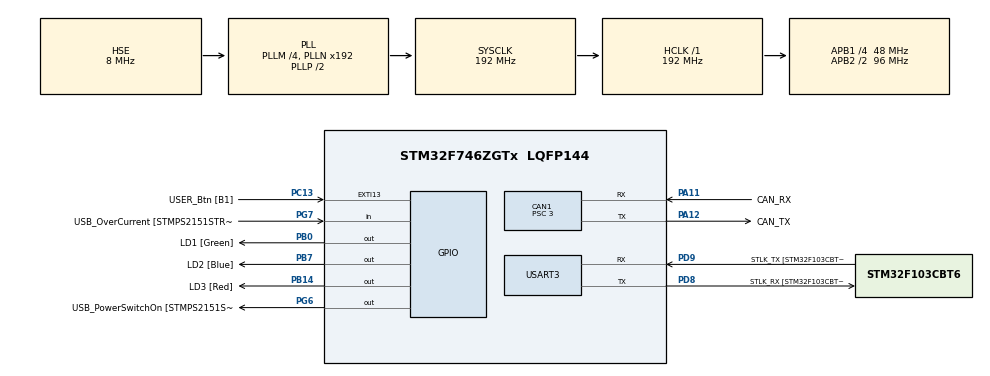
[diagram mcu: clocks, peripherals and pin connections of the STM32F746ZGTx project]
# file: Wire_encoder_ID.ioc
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CAN1.ABOM=ENABLE
CAN1.BS1=CAN_BS1_13TQ
CAN1.BS2=CAN_BS2_2TQ
CAN1.CalculateBaudRate=1000000
CAN1.CalculateTimeBit=1000
CAN1.CalculateTimeQuantum=62.5
CAN1.Mode=CAN_MODE_NORMAL
CAN1.NART=ENABLE
CAN1.Prescaler=3
Mcu.Family=STM32F7
Mcu.Name=STM32F746ZGTx
Mcu.Package=LQFP144
NVIC.CAN1_RX0_IRQn=true\:0\:0\:false\:false\:true\:true\:true\:true
NVIC.PriorityGroup=NVIC_PRIORITYGROUP_4
PA1.GPIO_Label=RMII_REF_CLK [LAN8742A-CZ-TR_REFCLK0]
PA1.Signal=ETH_REF_CLK
PA10.GPIO_Label=USB_ID
PA10.Signal=USB_OTG_FS_ID
PA11.GPIO_Label=CAN_RX
PA11.Mode=CAN_Activate
PA11.Signal=CAN1_RX
PA12.GPIO_Label=CAN_TX
PA12.Mode=CAN_Activate
PA12.Signal=CAN1_TX
PA13.GPIO_Label=TMS
PA13.Mode=Serial_Wire
PA13.Signal=SYS_JTMS-SWDIO
PA14.GPIO_Label=TCK
PA14.Mode=Serial_Wire
PA14.Signal=SYS_JTCK-SWCLK
PA2.GPIO_Label=RMII_MDIO [LAN8742A-CZ-TR_MDIO]
PA2.Signal=ETH_MDIO
PA7.GPIO_Label=RMII_CRS_DV [LAN8742A-CZ-TR_CRS_DV]
PA7.Signal=ETH_CRS_DV
PA8.GPIO_Label=USB_SOF [TP1]
PA8.Signal=USB_OTG_FS_SOF
PA9.GPIO_Label=USB_VBUS
PA9.Signal=USB_OTG_FS_VBUS
PB0.GPIO_Label=LD1 [Green]
PB0.Signal=GPIO_Output
PB13.GPIO_Label=RMII_TXD1 [LAN8742A-CZ-TR_TXD1]
PB13.Signal=ETH_TXD1
PB14.GPIO_Label=LD3 [Red]
PB14.Signal=GPIO_Output
PB3.GPIO_Label=SW0
PB3.Signal=SYS_JTDO-SWO
PB7.GPIO_Label=LD2 [Blue]
PB7.Signal=GPIO_Output
PB8.Signal=I2C1_SCL
PB9.Signal=I2C1_SDA
PC1.GPIO_Label=RMII_MDC [LAN8742A-CZ-TR_MDC]
PC1.Signal=ETH_MDC
PC13.GPIO_Label=USER_Btn [B1]
PC13.Signal=GPXTI13
PC14/OSC32_IN.Mode=LSE-External-Oscillator
PC14/OSC32_IN.Signal=RCC_OSC32_IN
PC15/OSC32_OUT.Mode=LSE-External-Oscillator
PC15/OSC32_OUT.Signal=RCC_OSC32_OUT
PC4.GPIO_Label=RMII_RXD0 [LAN8742A-CZ-TR_RXD0]
PC4.Signal=ETH_RXD0
PC5.GPIO_Label=RMII_RXD1 [LAN8742A-CZ-TR_RXD1]
PC5.Signal=ETH_RXD1
PD8.GPIO_Label=STLK_RX [STM32F103CBT6_PA3]
PD8.GPIO_PuPd=GPIO_PULLUP
PD8.Mode=Asynchronous
PD8.Signal=USART3_TX
PD9.GPIO_Label=STLK_TX [STM32F103CBT6_PA2]
PD9.GPIO_PuPd=GPIO_PULLUP
PD9.Mode=Asynchronous
PD9.Signal=USART3_RX
PG11.GPIO_Label=RMII_TX_EN [LAN8742A-CZ-TR_TXEN]
PG11.Signal=ETH_TX_EN
PG13.GPIO_Label=RMII_TXD0 [LAN8742A-CZ-TR_TXD0]
PG13.Signal=ETH_TXD0
PG6.GPIO_Label=USB_PowerSwitchOn [STMPS2151STR_EN]
PG6.Signal=GPIO_Output
PG7.GPIO_Label=USB_OverCurrent [STMPS2151STR_FAULT]
PG7.Signal=GPIO_Input
PH0/OSC_IN.GPIO_Label=MCO [STM32F103CBT6_PA8]
PH0/OSC_IN.Mode=HSE-External-Oscillator
PH0/OSC_IN.Signal=RCC_OSC_IN
PH1/OSC_OUT.Mode=HSE-External-Oscillator
PH1/OSC_OUT.Signal=RCC_OSC_OUT
ProjectManager.HeapSize=0x200
ProjectManager.StackSize=0x400
ProjectManager.TargetToolchain=STM32CubeIDE
RCC.48MHZClocksFreq_Value=24000000
RCC.AHBFreq_Value=192000000
RCC.APB1CLKDivider=RCC_HCLK_DIV4
RCC.APB1Freq_Value=48000000
RCC.APB1TimFreq_Value=96000000
RCC.APB2CLKDivider=RCC_HCLK_DIV2
RCC.APB2Freq_Value=96000000
RCC.APB2TimFreq_Value=192000000
RCC.CortexFreq_Value=192000000
RCC.HCLKFreq_Value=192000000
RCC.HSE_VALUE=8000000
RCC.HSI_VALUE=16000000
RCC.PLLM=4
RCC.PLLMUL=RCC_PLL_MUL9
RCC.PLLQ=3
RCC.PLLSourceVirtual=RCC_PLLSOURCE_HSE
RCC.PRESCALERUSB=RCC_USBCLKSOURCE_PLL_DIV1_5
RCC.SYSCLKFreq_VALUE=192000000
RCC.SYSCLKSource=RCC_SYSCLKSOURCE_PLLCLK
RCC.SYSCLKSourceVirtual=RCC_SYSCLKSOURCE_PLLCLK
RCC.USBFreq_Value=128000000
RCC.VCOOutputFreq_Value=384000000
USART3.VirtualMode-Asynchronous=VM_ASYNC
board=NUCLEO-F746ZG

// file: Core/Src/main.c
/* USER CODE BEGIN Header */
/**
  ******************************************************************************
  * @file           : main.c
  * @brief          : Briter encoder CAN ID & Baud rate config tool
  *                   WEncoder_CAN lib ашиглан encoder-ийн ID болон
  *                   baud rate-ийг нэг удаа солих зориулалттай.
  ******************************************************************************
  * @attention
  *
  * Copyright (c) 2026 STMicroelectronics.
  * All rights reserved.
  *
  ******************************************************************************
  */
/* USER CODE END Header */
#include "main.h"

/* USER CODE BEGIN Includes */
#include <stdio.h>
#include "WEncoder_CAN.h"
/* USER CODE END Includes */

/* USER CODE BEGIN PD */

/* Encoder-ийн одоогийн тохиргоо (шатаагдсан) */
#define ENCODER_CURRENT_ID        0x01U
#define ENCODER_TARGET_ID         0x02U

#define ENCODER_CURRENT_BAUD_CODE WENC_BAUD_1M
#define ENCODER_TARGET_BAUD_CODE  WENC_BAUD_1M

/* Timeouts */
#define PROBE_TIMEOUT_MS          250U
#define ACK_TIMEOUT_MS            150U
#define COMMAND_RETRY_COUNT       5U

#define UART_LOG_ENABLE           1U

/* USER CODE END PD */

CAN_HandleTypeDef hcan1;
UART_HandleTypeDef huart3;

/* USER CODE BEGIN PV */
/* Config tool-ийн дотоод төлөв */
static volatile uint8_t s_activeId    = ENCODER_CURRENT_ID;
static volatile uint8_t s_readSeen    = 0U;
static volatile uint8_t s_cmdAckSeen  = 0U;
static volatile uint8_t s_cmdAckCode  = 0xFFU;
static volatile uint8_t s_cmdAckType  = 0x00U;
static uint32_t         s_reqSentAt   = 0U;

/* Briter command codes */
#define CMD_READ_VALUE  0x01U
#define CMD_SET_ID      0x02U
#define CMD_SET_BAUD    0x03U
/* USER CODE END PV */

void SystemClock_Config(void);
static void MX_GPIO_Init(void);
static void MX_USART3_UART_Init(void);
static void MX_CAN1_Init(void);
/* USER CODE BEGIN PFP */
static HAL_StatusTypeDef CAN_ReInitForBaudCode(uint8_t baudCode);
static HAL_StatusTypeDef CAN_Send4(uint8_t stdId,
                                    uint8_t b0, uint8_t b1,
                                    uint8_t b2, uint8_t b3);
static uint8_t           CAN_ProbeId(uint8_t encoderId, uint32_t timeoutMs);
static HAL_StatusTypeDef CAN_WaitAck(uint8_t expectedCmd, uint32_t timeoutMs);
static HAL_StatusTypeDef CAN_EnsureTargetId(void);
static HAL_StatusTypeDef CAN_EnsureTargetBaud(void);
/* USER CODE END PFP */

/* USER CODE BEGIN 0 */

int __io_putchar(int ch)
{
#if UART_LOG_ENABLE
    uint8_t c = (uint8_t)ch;
    (void)HAL_UART_Transmit(&huart3, &c, 1U, 2U);
#else
    (void)ch;
#endif
    return ch;
}

/* ── ISR ──────────────────────────────────────────────────────────────────── */
void HAL_CAN_RxFifo0MsgPendingCallback(CAN_HandleTypeDef *hcan)
{
    CAN_RxHeaderTypeDef hdr;
    uint8_t             d[8];

    if (hcan->Instance != CAN1) return;
    if (HAL_CAN_GetRxMessage(hcan, CAN_RX_FIFO0, &hdr, d) != HAL_OK) return;

#if UART_LOG_ENABLE
    /* DEBUG: ирж буй бүх frame raw хэлбэрээр print — шалгаж дуусаад устга */
    printf("RX ide=%u std=0x%03X dlc=%u [%02X %02X %02X %02X %02X %02X %02X %02X]\r\n",
           (unsigned int)hdr.IDE,
           (unsigned int)hdr.StdId,
           (unsigned int)hdr.DLC,
           d[0],d[1],d[2],d[3],d[4],d[5],d[6],d[7]);
#endif

    /* EXT frame бол хаях (Briter STD frame ашигладаг) */
    if (hdr.IDE != CAN_ID_STD) return;

    /* SET_ID / SET_BAUD ACK: [0x04][newId/sameId][cmd][code] */
    if ((hdr.DLC >= 4U) &&
        (d[0] == 0x04U) &&
        ((d[2] == CMD_SET_ID) || (d[2] == CMD_SET_BAUD))) {
        s_cmdAckSeen = 1U;
        s_cmdAckType = d[2];
        s_cmdAckCode = d[3];
#if UART_LOG_ENABLE
        printf("RX ACK cmd=0x%02X code=%u id=0x%02X\r\n",
               (unsigned int)s_cmdAckType,
               (unsigned int)s_cmdAckCode,
               (unsigned int)hdr.StdId);
#endif
        return;
    }

    /* Echo шүүх: [0x04][id][0x01][0x00] DLC=4 */
    if ((hdr.DLC == 4U) &&
        (d[0] == 0x04U) && (d[2] == CMD_READ_VALUE) && (d[3] == 0x00U)) {
        return;
    }

    /* Read response: DLC=7, [0x07][id][0x01][D0..D3] */
    if ((hdr.StdId == (uint32_t)s_activeId) &&
        (hdr.DLC   == 7U)                   &&
        (d[0]      == 0x07U)                &&
        (d[1]      == s_activeId)           &&
        (d[2]      == CMD_READ_VALUE)) {
        s_readSeen = 1U;
    }
}

void HAL_CAN_ErrorCallback(CAN_HandleTypeDef *hcan)
{
    (void)hcan;
}

/* ── CAN helpers ──────────────────────────────────────────────────────────── */

static HAL_StatusTypeDef CAN_ReInitForBaudCode(uint8_t baudCode)
{
    /* Зогсоож, prescaler солиод, дахин init + filter/start хийнэ.
       WEncoder_CAN_FilterStart — zөвхөн filter+notify+start,
       baud-ийг дарж бичдэггүй тул config tool-д тохиромжтой. */
    (void)HAL_CAN_Stop(&hcan1);
    (void)HAL_CAN_DeInit(&hcan1);

    hcan1.Init.SyncJumpWidth = CAN_SJW_1TQ;
    hcan1.Init.TimeSeg1      = CAN_BS1_13TQ;
    hcan1.Init.TimeSeg2      = CAN_BS2_2TQ;

    switch (baudCode) {
        case WENC_BAUD_500K: hcan1.Init.Prescaler = 6;  break;  /* 48M/( 6*16)=500K */
        case WENC_BAUD_1M:   hcan1.Init.Prescaler = 3;  break;  /* 48M/( 3*16)=1M   */
        case WENC_BAUD_250K: hcan1.Init.Prescaler = 12; break;  /* 48M/(12*16)=250K */
        case WENC_BAUD_125K: hcan1.Init.Prescaler = 24; break;  /* 48M/(24*16)=125K */
        case WENC_BAUD_100K: hcan1.Init.Prescaler = 30; break;  /* 48M/(30*16)=100K */
        default: return HAL_ERROR;
    }

    if (HAL_CAN_Init(&hcan1) != HAL_OK) return HAL_ERROR;

    /* FilterStart: prescaler-ийг өөрчлөхгүй, зөвхөн filter+notify+start */
    g_wenc.hcan = &hcan1;
    return WEncoder_CAN_FilterStart();
}

static HAL_StatusTypeDef CAN_Send4(uint8_t stdId,
                                    uint8_t b0, uint8_t b1,
                                    uint8_t b2, uint8_t b3)
{
    CAN_TxHeaderTypeDef tx;
    uint8_t  data[8] = {b0, b1, b2, b3, 0, 0, 0, 0};
    uint32_t mailbox  = 0U;

    if (HAL_CAN_GetTxMailboxesFreeLevel(&hcan1) == 0U) return HAL_BUSY;

    tx.StdId              = stdId;
    tx.IDE                = CAN_ID_STD;
    tx.RTR                = CAN_RTR_DATA;
    tx.DLC                = 4U;
    tx.TransmitGlobalTime = DISABLE;

    return HAL_CAN_AddTxMessage(&hcan1, &tx, data, &mailbox);
}

/* Encoder-ийг read request-ээр probe хийж, хариу ирвэл 1 буцаана */
static uint8_t CAN_ProbeId(uint8_t encoderId, uint32_t timeoutMs)
{
    uint32_t t0 = HAL_GetTick();
    s_activeId = encoderId;
    s_readSeen = 0U;

    while ((HAL_GetTick() - t0) < timeoutMs) {
        if ((HAL_GetTick() - s_reqSentAt) >= 20U) {
#if UART_LOG_ENABLE
            printf("TX READ id=0x%02X\r\n", encoderId);
#endif
            (void)CAN_Send4(encoderId, 0x04U, encoderId, CMD_READ_VALUE, 0x00U);
            s_reqSentAt = HAL_GetTick();
        }
        if (s_readSeen) {
#if UART_LOG_ENABLE
            printf("PROBE OK id=0x%02X\r\n", encoderId);
#endif
            return 1U;
        }
    }
    return 0U;
}

/* ACK ирэх хүртэл хүлээх */
static HAL_StatusTypeDef CAN_WaitAck(uint8_t expectedCmd, uint32_t timeoutMs)
{
    uint32_t t0 = HAL_GetTick();
    s_cmdAckSeen = 0U;
    s_cmdAckCode = 0xFFU;
    s_cmdAckType = 0x00U;

    while ((HAL_GetTick() - t0) < timeoutMs) {
        if (s_cmdAckSeen && (s_cmdAckType == expectedCmd)) return HAL_OK;
    }
    return HAL_TIMEOUT;
}

/* ── Config логик ─────────────────────────────────────────────────────────── */

static HAL_StatusTypeDef CAN_EnsureTargetId(void)
{
    if (ENCODER_CURRENT_ID == ENCODER_TARGET_ID) {
#if UART_LOG_ENABLE
        printf("ID change skipped (same)\r\n");
#endif
        s_activeId = ENCODER_TARGET_ID;
        return HAL_OK;
    }

    if (!CAN_ProbeId(ENCODER_CURRENT_ID, PROBE_TIMEOUT_MS)) {
#if UART_LOG_ENABLE
        printf("CURRENT ID 0x%02X not found\r\n", ENCODER_CURRENT_ID);
#endif
        return HAL_ERROR;
    }

    for (uint8_t i = 0U; i < COMMAND_RETRY_COUNT; i++) {
#if UART_LOG_ENABLE
        printf("TX SET_ID 0x%02X → 0x%02X\r\n",
               ENCODER_CURRENT_ID, ENCODER_TARGET_ID);
#endif
        if (CAN_Send4(ENCODER_CURRENT_ID,
                      0x04U, ENCODER_CURRENT_ID,
                      CMD_SET_ID, ENCODER_TARGET_ID) != HAL_OK) {
            HAL_Delay(10U);
            continue;
        }
        (void)CAN_WaitAck(CMD_SET_ID, ACK_TIMEOUT_MS);
        HAL_Delay(50U);

        if (CAN_ProbeId(ENCODER_TARGET_ID, PROBE_TIMEOUT_MS)) {
            s_activeId = ENCODER_TARGET_ID;
            return HAL_OK;
        }
    }
    return HAL_ERROR;
}

static HAL_StatusTypeDef CAN_EnsureTargetBaud(void)
{
    if (ENCODER_CURRENT_BAUD_CODE == ENCODER_TARGET_BAUD_CODE) {
#if UART_LOG_ENABLE
        printf("BAUD change skipped (same)\r\n");
#endif
        return HAL_OK;
    }

    for (uint8_t i = 0U; i < COMMAND_RETRY_COUNT; i++) {
#if UART_LOG_ENABLE
        printf("TX SET_BAUD → %u\r\n", (unsigned int)ENCODER_TARGET_BAUD_CODE);
#endif
        if (CAN_Send4(s_activeId,
                      0x04U, s_activeId,
                      CMD_SET_BAUD, ENCODER_TARGET_BAUD_CODE) != HAL_OK) {
            HAL_Delay(10U);
            continue;
        }
        (void)CAN_WaitAck(CMD_SET_BAUD, ACK_TIMEOUT_MS);
        HAL_Delay(50U);

        /* Host-ыг шинэ baud руу шилжүүлж probe хийх */
        if (CAN_ReInitForBaudCode(ENCODER_TARGET_BAUD_CODE) != HAL_OK) return HAL_ERROR;
        if (CAN_ProbeId(s_activeId, PROBE_TIMEOUT_MS)) return HAL_OK;

        /* Амжилтгүй — хуучин baud руу буцаж дараагийн оролдлого */
        if (CAN_ReInitForBaudCode(ENCODER_CURRENT_BAUD_CODE) != HAL_OK) return HAL_ERROR;
    }
    return HAL_ERROR;
}

/* USER CODE END 0 */

/* ── main ─────────────────────────────────────────────────────────────────── */
int main(void)
{

	HAL_Init();

  SystemClock_Config();

  MX_GPIO_Init();
  MX_USART3_UART_Init();
  MX_CAN1_Init();

  /* USER CODE BEGIN 2 */
#if UART_LOG_ENABLE
  printf("\r\nCONFIG TOOL BOOT\r\n");
  printf("CURRENT id=0x%02X baud=%u\r\n",
         ENCODER_CURRENT_ID, (unsigned int)ENCODER_CURRENT_BAUD_CODE);
  printf("TARGET  id=0x%02X baud=%u\r\n",
         ENCODER_TARGET_ID,  (unsigned int)ENCODER_TARGET_BAUD_CODE);
#endif

  /* WEncoder_CAN — config tool дотор зөвхөн StartStack-д ашиглана.
     Дотоод g_wenc handle-ийг ISR-тэй хуваалцахад хэрэгтэй. */
  WEncoder_CAN_Init(&hcan1);

  /* Одоогийн baud дээр stack эхлүүлэх */
  if (CAN_ReInitForBaudCode(ENCODER_CURRENT_BAUD_CODE) != HAL_OK) {
      Error_Handler();
  }

  /* ID солих → Baud солих */
  uint8_t ok = (CAN_EnsureTargetId()   == HAL_OK) &&
               (CAN_EnsureTargetBaud() == HAL_OK);

  if (ok) {
      HAL_GPIO_WritePin(LD1_GPIO_Port, LD1_Pin, GPIO_PIN_SET);  /* ногоон */
#if UART_LOG_ENABLE
      printf("CONFIG OK\r\n");
#endif
  } else {
      HAL_GPIO_WritePin(LD3_GPIO_Port, LD3_Pin, GPIO_PIN_SET);  /* улаан */
#if UART_LOG_ENABLE
      printf("CONFIG FAILED\r\n");
#endif
  }
  /* USER CODE END 2 */

  /* Infinite loop */
  /* USER CODE BEGIN WHILE */
  while (1)
  {
    /* Config дууссан — idle */
    /* USER CODE END WHILE */

  }
}

/* ── Peripheral init (STM32CubeIDE generated) ─────────────────────────────── */

void SystemClock_Config(void)
{
  RCC_OscInitTypeDef RCC_OscInitStruct = {0};
  RCC_ClkInitTypeDef RCC_ClkInitStruct = {0};

  HAL_PWR_EnableBkUpAccess();
  __HAL_RCC_PWR_CLK_ENABLE();
  __HAL_PWR_VOLTAGESCALING_CONFIG(PWR_REGULATOR_VOLTAGE_SCALE1);

  RCC_OscInitStruct.OscillatorType = RCC_OSCILLATORTYPE_HSE;
  RCC_OscInitStruct.HSEState       = RCC_HSE_ON;
  RCC_OscInitStruct.PLL.PLLState   = RCC_PLL_ON;
  RCC_OscInitStruct.PLL.PLLSource  = RCC_PLLSOURCE_HSE;
  RCC_OscInitStruct.PLL.PLLM       = 4;
  RCC_OscInitStruct.PLL.PLLN       = 192;
  RCC_OscInitStruct.PLL.PLLP       = RCC_PLLP_DIV2;
  RCC_OscInitStruct.PLL.PLLQ       = 3;
  if (HAL_RCC_OscConfig(&RCC_OscInitStruct) != HAL_OK)  { Error_Handler(); }
  if (HAL_PWREx_EnableOverDrive()           != HAL_OK)  { Error_Handler(); }

  RCC_ClkInitStruct.ClockType      = RCC_CLOCKTYPE_HCLK | RCC_CLOCKTYPE_SYSCLK
                                   | RCC_CLOCKTYPE_PCLK1 | RCC_CLOCKTYPE_PCLK2;
  RCC_ClkInitStruct.SYSCLKSource   = RCC_SYSCLKSOURCE_PLLCLK;
  RCC_ClkInitStruct.AHBCLKDivider  = RCC_SYSCLK_DIV1;
  RCC_ClkInitStruct.APB1CLKDivider = RCC_HCLK_DIV4;
  RCC_ClkInitStruct.APB2CLKDivider = RCC_HCLK_DIV2;
  if (HAL_RCC_ClockConfig(&RCC_ClkInitStruct, FLASH_LATENCY_6) != HAL_OK) { Error_Handler(); }
}

static void MX_CAN1_Init(void)
{

  hcan1.Instance                = CAN1;
  hcan1.Init.Prescaler          = 6;    /* 500K default — CAN_ReInitForBaudCode дахин тавина */
  hcan1.Init.Mode               = CAN_MODE_NORMAL;
  hcan1.Init.SyncJumpWidth      = CAN_SJW_1TQ;
  hcan1.Init.TimeSeg1           = CAN_BS1_13TQ;
  hcan1.Init.TimeSeg2           = CAN_BS2_2TQ;
  hcan1.Init.TimeTriggeredMode  = DISABLE;
  hcan1.Init.AutoBusOff         = ENABLE;
  hcan1.Init.AutoWakeUp         = DISABLE;
  hcan1.Init.AutoRetransmission = ENABLE;
  hcan1.Init.ReceiveFifoLocked  = DISABLE;
  hcan1.Init.TransmitFifoPriority = DISABLE;
  if (HAL_CAN_Init(&hcan1) != HAL_OK) { Error_Handler(); }
  /* USER CODE BEGIN CAN1_Init 2 */
  /* Filter + start нь CAN_ReInitForBaudCode → WEncoder_CAN_StartStack-д хийгдэнэ */
  /* USER CODE END CAN1_Init 2 */
}

static void MX_USART3_UART_Init(void)
{

  huart3.Instance            = USART3;
  huart3.Init.BaudRate       = 115200;
  huart3.Init.WordLength     = UART_WORDLENGTH_8B;
  huart3.Init.StopBits       = UART_STOPBITS_1;
  huart3.Init.Parity         = UART_PARITY_NONE;
  huart3.Init.Mode           = UART_MODE_TX_RX;
  huart3.Init.HwFlowCtl      = UART_HWCONTROL_NONE;
  huart3.Init.OverSampling   = UART_OVERSAMPLING_16;
  huart3.Init.OneBitSampling = UART_ONE_BIT_SAMPLE_DISABLE;
  huart3.AdvancedInit.AdvFeatureInit = UART_ADVFEATURE_NO_INIT;
  if (HAL_UART_Init(&huart3) != HAL_OK) { Error_Handler(); }
}

static void MX_GPIO_Init(void)
{
  GPIO_InitTypeDef GPIO_InitStruct = {0};

  __HAL_RCC_GPIOC_CLK_ENABLE();
  __HAL_RCC_GPIOH_CLK_ENABLE();
  __HAL_RCC_GPIOA_CLK_ENABLE();
  __HAL_RCC_GPIOB_CLK_ENABLE();
  __HAL_RCC_GPIOD_CLK_ENABLE();
  __HAL_RCC_GPIOG_CLK_ENABLE();

  HAL_GPIO_WritePin(GPIOB, LD1_Pin|LD3_Pin|LD2_Pin, GPIO_PIN_RESET);
  HAL_GPIO_WritePin(USB_PowerSwitchOn_GPIO_Port, USB_PowerSwitchOn_Pin, GPIO_PIN_RESET);

  GPIO_InitStruct.Pin = USER_Btn_Pin; GPIO_InitStruct.Mode = GPIO_MODE_IT_RISING;
  GPIO_InitStruct.Pull = GPIO_NOPULL; HAL_GPIO_Init(USER_Btn_GPIO_Port, &GPIO_InitStruct);

  GPIO_InitStruct.Mode = GPIO_MODE_AF_PP; GPIO_InitStruct.Pull = GPIO_NOPULL;
  GPIO_InitStruct.Speed = GPIO_SPEED_FREQ_VERY_HIGH; GPIO_InitStruct.Alternate = GPIO_AF11_ETH;
  GPIO_InitStruct.Pin = RMII_MDC_Pin|RMII_RXD0_Pin|RMII_RXD1_Pin; HAL_GPIO_Init(GPIOC, &GPIO_InitStruct);
  GPIO_InitStruct.Pin = RMII_REF_CLK_Pin|RMII_MDIO_Pin|RMII_CRS_DV_Pin; HAL_GPIO_Init(GPIOA, &GPIO_InitStruct);
  GPIO_InitStruct.Pin = RMII_TXD1_Pin; HAL_GPIO_Init(RMII_TXD1_GPIO_Port, &GPIO_InitStruct);
  GPIO_InitStruct.Pin = RMII_TX_EN_Pin|RMII_TXD0_Pin; HAL_GPIO_Init(GPIOG, &GPIO_InitStruct);

  GPIO_InitStruct.Pin = LD1_Pin|LD3_Pin|LD2_Pin; GPIO_InitStruct.Mode = GPIO_MODE_OUTPUT_PP;
  GPIO_InitStruct.Speed = GPIO_SPEED_FREQ_LOW; GPIO_InitStruct.Alternate = 0;
  HAL_GPIO_Init(GPIOB, &GPIO_InitStruct);

  GPIO_InitStruct.Pin = USB_PowerSwitchOn_Pin; HAL_GPIO_Init(USB_PowerSwitchOn_GPIO_Port, &GPIO_InitStruct);

  GPIO_InitStruct.Pin = USB_OverCurrent_Pin; GPIO_InitStruct.Mode = GPIO_MODE_INPUT;
  HAL_GPIO_Init(USB_OverCurrent_GPIO_Port, &GPIO_InitStruct);
  GPIO_InitStruct.Pin = USB_VBUS_Pin; HAL_GPIO_Init(USB_VBUS_GPIO_Port, &GPIO_InitStruct);

  GPIO_InitStruct.Mode = GPIO_MODE_AF_PP; GPIO_InitStruct.Speed = GPIO_SPEED_FREQ_VERY_HIGH;
  GPIO_InitStruct.Alternate = GPIO_AF10_OTG_FS;
  GPIO_InitStruct.Pin = USB_SOF_Pin|USB_ID_Pin; HAL_GPIO_Init(GPIOA, &GPIO_InitStruct);

  GPIO_InitStruct.Mode = GPIO_MODE_AF_OD; GPIO_InitStruct.Alternate = GPIO_AF4_I2C1;
  GPIO_InitStruct.Pin = GPIO_PIN_8|GPIO_PIN_9; HAL_GPIO_Init(GPIOB, &GPIO_InitStruct);

}

void Error_Handler(void)
{
  __disable_irq();
  while (1) {}
}
